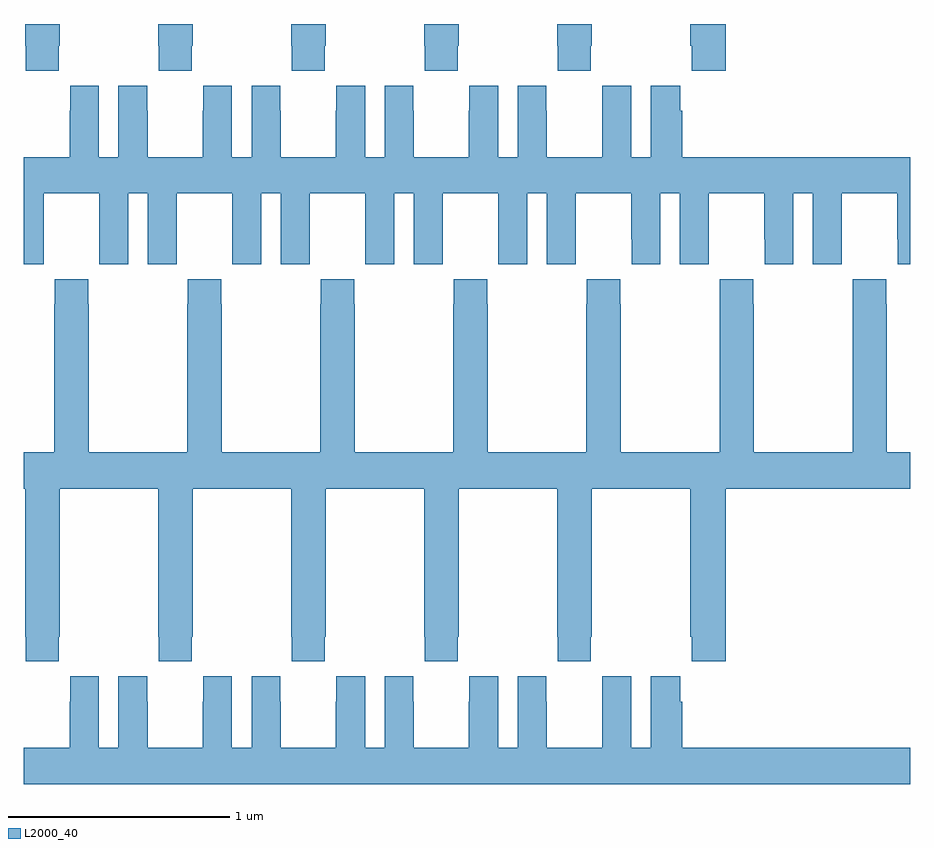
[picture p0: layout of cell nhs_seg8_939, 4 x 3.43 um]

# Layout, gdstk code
import gdstk
lib = gdstk.Library(unit=1e-6, precision=1e-09)
def P(c, l, *ps):  # polygons
    for p in ps: c.add(gdstk.Polygon(p, *l))
L2000_40 = (2000, 40)

nhs_seg8_939 = lib.new_cell('nhs_seg8_939')
P(nhs_seg8_939, L2000_40, [(171.759,1147.801),(171.762,1147.801),(171.762,1147.9),(171.607,1147.9),(171.607,1147.801),(171.609,1147.801),(171.609,1147.689),(171.759,1147.689)],
  [(171.159,1147.801),(171.162,1147.801),(171.162,1147.9),(171.007,1147.9),(171.007,1147.801),(171.009,1147.801),(171.009,1147.689),(171.159,1147.689)],
  [(174.167,1147.9),(174.007,1147.9),(174.007,1147.801),(174.013,1147.801),(174.013,1147.689),(174.167,1147.689)],
  [(173.559,1147.801),(173.562,1147.801),(173.562,1147.9),(173.407,1147.9),(173.407,1147.801),(173.409,1147.801),(173.409,1147.689),(173.559,1147.689)],
  [(172.959,1147.801),(172.962,1147.801),(172.962,1147.9),(172.807,1147.9),(172.807,1147.801),(172.809,1147.801),(172.809,1147.689),(172.959,1147.689)],
  [(172.359,1147.801),(172.362,1147.801),(172.362,1147.9),(172.207,1147.9),(172.207,1147.801),(172.209,1147.801),(172.209,1147.689),(172.359,1147.689)],
  [(171.428,1147.621),(171.428,1147.3),(171.34,1147.3),(171.34,1147.621),(171.21,1147.621),(171.21,1147.508),(171.209,1147.508),(171.209,1147.3),(171,1147.3),(171,1146.816),(171.09,1146.816),(171.09,1146.928),(171.091,1146.928),(171.091,1147.136),(171.341,1147.136),(171.341,1146.928),(171.342,1146.928),(171.342,1146.816),(171.472,1146.816),(171.472,1147.136),(171.56,1147.136),(171.56,1146.816),(171.69,1146.816),(171.69,1146.928),(171.691,1146.928),(171.691,1147.136),(171.941,1147.136),(171.941,1146.928),(171.942,1146.928),(171.942,1146.816),(172.072,1146.816),(172.072,1147.136),(172.16,1147.136),(172.16,1146.816),(172.29,1146.816),(172.29,1146.928),(172.291,1146.928),(172.291,1147.136),(172.541,1147.136),(172.541,1146.928),(172.542,1146.928),(172.542,1146.816),(172.672,1146.816),(172.672,1147.136),(172.76,1147.136),(172.76,1146.816),(172.89,1146.816),(172.89,1146.928),(172.891,1146.928),(172.891,1147.136),(173.141,1147.136),(173.141,1146.928),(173.142,1146.928),(173.142,1146.816),(173.272,1146.816),(173.272,1147.136),(173.36,1147.136),(173.36,1146.816),(173.49,1146.816),(173.49,1146.928),(173.491,1146.928),(173.491,1147.136),(173.741,1147.136),(173.741,1146.928),(173.742,1146.928),(173.742,1146.816),(173.872,1146.816),(173.872,1147.136),(173.96,1147.136),(173.96,1146.816),(174.09,1146.816),(174.09,1146.928),(174.091,1146.928),(174.091,1147.136),(174.341,1147.136),(174.341,1146.928),(174.342,1146.928),(174.342,1146.816),(174.472,1146.816),(174.472,1147.136),(174.56,1147.136),(174.56,1146.816),(174.69,1146.816),(174.69,1146.928),(174.691,1146.928),(174.691,1147.136),(174.941,1147.136),(174.941,1146.928),(174.942,1146.928),(174.942,1146.816),(175,1146.816),(175,1147.3),(173.972,1147.3),(173.972,1147.508),(173.962,1147.508),(173.962,1147.621),(173.828,1147.621),(173.828,1147.3),(173.74,1147.3),(173.74,1147.621),(173.61,1147.621),(173.61,1147.508),(173.609,1147.508),(173.609,1147.3),(173.359,1147.3),(173.359,1147.508),(173.358,1147.508),(173.358,1147.621),(173.228,1147.621),(173.228,1147.3),(173.14,1147.3),(173.14,1147.621),(173.01,1147.621),(173.01,1147.508),(173.009,1147.508),(173.009,1147.3),(172.759,1147.3),(172.759,1147.508),(172.758,1147.508),(172.758,1147.621),(172.628,1147.621),(172.628,1147.3),(172.54,1147.3),(172.54,1147.621),(172.41,1147.621),(172.41,1147.508),(172.409,1147.508),(172.409,1147.3),(172.159,1147.3),(172.159,1147.508),(172.158,1147.508),(172.158,1147.621),(172.028,1147.621),(172.028,1147.3),(171.94,1147.3),(171.94,1147.621),(171.81,1147.621),(171.81,1147.508),(171.809,1147.508),(171.809,1147.3),(171.559,1147.3),(171.559,1147.508),(171.558,1147.508),(171.558,1147.621)],
  [(171.159,1145.137),(171.162,1145.137),(171.162,1145.804),(171.607,1145.804),(171.607,1145.137),(171.609,1145.137),(171.609,1145.025),(171.759,1145.025),(171.759,1145.137),(171.762,1145.137),(171.762,1145.804),(172.207,1145.804),(172.207,1145.137),(172.209,1145.137),(172.209,1145.025),(172.359,1145.025),(172.359,1145.137),(172.362,1145.137),(172.362,1145.804),(172.807,1145.804),(172.807,1145.137),(172.809,1145.137),(172.809,1145.025),(172.959,1145.025),(172.959,1145.137),(172.962,1145.137),(172.962,1145.804),(173.407,1145.804),(173.407,1145.137),(173.409,1145.137),(173.409,1145.025),(173.559,1145.025),(173.559,1145.137),(173.562,1145.137),(173.562,1145.804),(174.007,1145.804),(174.007,1145.137),(174.013,1145.137),(174.013,1145.025),(174.167,1145.025),(174.167,1145.804),(175,1145.804),(175,1145.968),(174.894,1145.968),(174.894,1146.635),(174.891,1146.635),(174.891,1146.748),(174.741,1146.748),(174.741,1146.635),(174.739,1146.635),(174.739,1145.968),(174.294,1145.968),(174.294,1146.635),(174.291,1146.635),(174.291,1146.748),(174.141,1146.748),(174.141,1146.635),(174.139,1146.635),(174.139,1145.968),(173.694,1145.968),(173.694,1146.635),(173.691,1146.635),(173.691,1146.748),(173.541,1146.748),(173.541,1146.635),(173.539,1146.635),(173.539,1145.968),(173.094,1145.968),(173.094,1146.635),(173.091,1146.635),(173.091,1146.748),(172.941,1146.748),(172.941,1146.635),(172.939,1146.635),(172.939,1145.968),(172.494,1145.968),(172.494,1146.635),(172.491,1146.635),(172.491,1146.748),(172.341,1146.748),(172.341,1146.635),(172.339,1146.635),(172.339,1145.968),(171.894,1145.968),(171.894,1146.635),(171.891,1146.635),(171.891,1146.748),(171.741,1146.748),(171.741,1146.635),(171.739,1146.635),(171.739,1145.968),(171.294,1145.968),(171.294,1146.635),(171.291,1146.635),(171.291,1146.748),(171.141,1146.748),(171.141,1146.635),(171.139,1146.635),(171.139,1145.968),(171,1145.968),(171,1145.804),(171.007,1145.804),(171.007,1145.137),(171.009,1145.137),(171.009,1145.025),(171.159,1145.025)],
  [(175,1144.636),(173.972,1144.636),(173.972,1144.844),(173.962,1144.844),(173.962,1144.957),(173.828,1144.957),(173.828,1144.636),(173.74,1144.636),(173.74,1144.957),(173.61,1144.957),(173.61,1144.844),(173.609,1144.844),(173.609,1144.636),(173.359,1144.636),(173.359,1144.844),(173.358,1144.844),(173.358,1144.957),(173.228,1144.957),(173.228,1144.636),(173.14,1144.636),(173.14,1144.957),(173.01,1144.957),(173.01,1144.844),(173.009,1144.844),(173.009,1144.636),(172.759,1144.636),(172.759,1144.844),(172.758,1144.844),(172.758,1144.957),(172.628,1144.957),(172.628,1144.636),(172.54,1144.636),(172.54,1144.957),(172.41,1144.957),(172.41,1144.844),(172.409,1144.844),(172.409,1144.636),(172.159,1144.636),(172.159,1144.844),(172.158,1144.844),(172.158,1144.957),(172.028,1144.957),(172.028,1144.636),(171.94,1144.636),(171.94,1144.957),(171.81,1144.957),(171.81,1144.844),(171.809,1144.844),(171.809,1144.636),(171.559,1144.636),(171.559,1144.844),(171.558,1144.844),(171.558,1144.957),(171.428,1144.957),(171.428,1144.636),(171.34,1144.636),(171.34,1144.957),(171.21,1144.957),(171.21,1144.844),(171.209,1144.844),(171.209,1144.636),(171,1144.636),(171,1144.472),(175,1144.472)])

lib.write_gds('nhs_seg8_939.gds')
